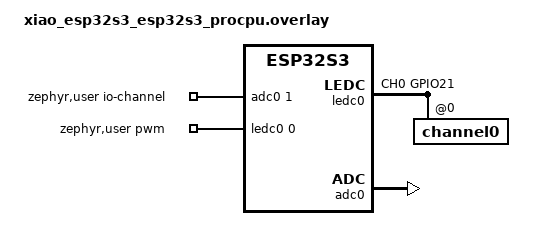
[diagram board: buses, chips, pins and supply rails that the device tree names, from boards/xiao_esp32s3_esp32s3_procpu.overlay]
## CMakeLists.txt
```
# SPDX-License-Identifier: Apache-2.0
cmake_minimum_required(VERSION 3.20.0)
find_package(Zephyr REQUIRED HINTS $ENV{ZEPHYR_BASE})
project(tessera_periphbench)

target_sources(app PRIVATE src/main.c)
```

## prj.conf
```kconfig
# SPDX-License-Identifier: Apache-2.0
# periphbench（板级九）：PWM/ADC 真后端真机验证。直启面（无 core_boot：
# 后端 init / 描述符注册 / set_link 由 bench 显式编排 = 生产 init 同链）。
CONFIG_PRINTK=y
CONFIG_TS_CORE=y
CONFIG_TS_SAFETY=y
CONFIG_TS_NET=n
CONFIG_MAIN_THREAD_PRIORITY=15
```

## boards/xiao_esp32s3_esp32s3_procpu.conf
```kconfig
# 板级九：PWM/ADC 真后端使能（LED 使能节点随 overlay 点亮 → PWM_LED_ESP32/
# ADC_ESP32 默认 y）；板级内存片段（DEC-23/27 过渡值）。
CONFIG_PWM=y
CONFIG_ADC=y
CONFIG_TS_DRV_PWM=y
CONFIG_TS_DRV_ADC=y
CONFIG_TS_STORE_SLOT_SIZE=4096
# 4.5 复验批（同型防御）：verify 链在 4096 main 栈实测挂死（persistbench
# 实证——教训 31⑤ 同型）；8192 定值。
CONFIG_MAIN_STACK_SIZE=8192
```

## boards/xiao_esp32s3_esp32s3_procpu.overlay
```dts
/*
 * 板级九：PWM（LEDC）/ADC DT 绑定（xiao_esp32s3）。
 * - PWM：LEDC_CH0 → GPIO21（板载蓝色 LED，低有效——亮度与 duty 反相，
 *   寄存器判据不受极性影响）；引脚路由经 ledc0 pinctrl（LEDC 绑定要求），
 *   通道 0 / timer 0。zephyr,user：pwm-uid = 逻辑名匹配 + pwms 规格。
 * - ADC：ADC1 通道 1 = GPIO2（D1；板 pinctrl 无占用——twai 占 GPIO3/4、
 *   spim2 占 7/8/9、i2c0 占 5/6，GPIO2 空闲）。zephyr,user：adc-uid +
 *   io-channels（ADC_DT_SPEC_GET 官方文档示例即为 zephyr,user 模式）。
 */
#include <zephyr/dt-bindings/pinctrl/esp32s3-pinctrl.h>

&pinctrl {
	pb_ledc0: pb_ledc0 {
		group1 {
			pinmux = <LEDC_CH0_GPIO21>;
			output-enable;
		};
	};
};

&ledc0 {
	status = "okay";
	pinctrl-0 = <&pb_ledc0>;
	pinctrl-names = "default";
	#address-cells = <1>;
	#size-cells = <0>;
	channel0@0 {
		reg = <0x0>;
		timer = <0>;
	};
};

&adc0 {
	status = "okay";
};

/ {
	zephyr,user {
		pwm-uid = "pb-pwm";
		pwms = <&ledc0 0 1000000 0>;
		adc-uid = "pb-adc";
		io-channels = <&adc0 1>;
	};
};
```

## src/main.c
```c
/* SPDX-License-Identifier: Apache-2.0 */
/*
 * periphbench（板级九）：PWM/ADC 真后端真机验证（docs/board-periph.md）。
 *
 * PWM 输出链（合同 2 唯一写路径全链）：ts_pwm_set（权限裁决 + 打包域校验）
 * → ts_safety_commit（限幅→slew→审计）→ ts_drivers[TS_CH_PWM]（pwm_set →
 * LEDC）→ 硬件判据 = LEDC 寄存器直读：DUTY_R/DUTY_RES 比值 ↔ permille；
 * 0%/100% = 驱动停止态（CONF0.SIG_OUT_EN=0 + IDLE_LV 对应）；断链 fail-safe
 * = linkloss 声明值落驱动（HLD §4.5-S2，本批修复的真机首证）。
 * ADC 输入链（合同 3：输入直读不经保护层）：io_mux 输出使能注入（estopbench
 * 同型豁免——引脚电平真实 0V/3.3V）→ ts_adc_read（eFuse 校准 mV）轨判据。
 */
#include <zephyr/kernel.h>
#include <zephyr/sys/util.h>
#include <ts/core.h>
#include <ts/hal.h>
#include <ts/periph.h>
#include <ts/safety.h>

/* esp32s3 LEDC（TRM §19；偏移自 hal_espressif esp32s3 ledc_reg.h）：
 * LSCH0 寄存器组 + LSTIMER0_CONF（duty_res [3:0]）。 */
#define LEDC_BASE 0x60019000U
#define LEDC_REG(off) (*(volatile uint32_t *)(LEDC_BASE + (off)))
#define LEDC_LSCH0_CONF0 0x00U
#define LEDC_LSCH0_DUTY_R 0x10U
#define LEDC_LSTIMER0_CONF 0xA0U
#define LEDC_SIG_OUT_EN BIT(2)
#define LEDC_IDLE_LV BIT(3)

/* esp32s3 GPIO0-31 bank：ADC 轨注入（estopbench 同型） */
#define GPIO0_BANK 0x60004000U
#define GPIO_REG(off) (*(volatile uint32_t *)(GPIO0_BANK + (off)))
#define ADC_PIN 2 /* D1 = ADC1_CH1 */
#define ADC_MASK BIT(ADC_PIN)

/* PWM 打包域（LLD-ts-hal §3）：高 16 = hz/100、低 16 = permille */
#define PWM_PACK(hz, pm) ((((hz) / 100U) << 16) | (pm))

/* duty 比值容差：驱动 duty_val = 2^res × ratio 截断 + DUTY_R 更新相位，
 * res≥13 时粒度 <0.2‰——3‰ 覆盖舍入与更新滞后 */
#define DUTY_TOL_PM 3U

static bool bench_fail;

static void check(bool ok, const char *tag)
{
	if (!ok) {
		bench_fail = true;
		printk("PP CHECK-FAIL %s\n", tag);
	}
}

/* 描述符（生产同型：经 ts_periph_register 全链注册）。三安全态 = 0%（LED 灭，
 * 安全侧）；限幅 max = 5000Hz|700‰（PP3 clamp 判据，hz 与扫描上限一致——
 * 打包域比较 hz 占高位，clamp 请求须取 max 同 hz 才是纯 duty 判据）。 */
static const ts_periph_desc_t pwm_desc = {
	.uid = "pb-pwm", .kind = TS_PK_PWM,
	.safe = {.uid = "pb-pwm", .kind = TS_CH_PWM,
		 .poweron = {.u = PWM_PACK(1000, 0)},
		 .linkloss = {.u = PWM_PACK(1000, 0)},
		 .fault = {.u = PWM_PACK(1000, 0)},
		 .limits = {.min = PWM_PACK(1000, 0),
			    .max = PWM_PACK(5000, 700),
			    .slew_per_ms = 0}},
};
static const ts_periph_desc_t adc_desc = {
	.uid = "pb-adc", .kind = TS_PK_ADC,
};

/* LEDC 实测 duty（permille 域）：DUTY_R / (2^duty_res × 16)。寄存器字段 =
 * duty ticks << 4（hal ledc_ll_set_duty_int_part：hw->duty = duty_val << 4，
 * 有效位 [18:4]）；res=0 = 未配置哨兵 */
static uint32_t duty_permille_hw(void)
{
	uint32_t res = LEDC_REG(LEDC_LSTIMER0_CONF) & 0xFU;
	uint32_t duty = LEDC_REG(LEDC_LSCH0_DUTY_R) & 0x7FFFFU;

	if (res == 0U) {
		return 0xFFFFFFFFU;
	}
	return duty * 1000U / ((1U << res) * 16U);
}

static bool duty_matches(uint32_t want_pm)
{
	uint32_t hw = duty_permille_hw();

	return hw != 0xFFFFFFFFU && hw + DUTY_TOL_PM >= want_pm &&
	       hw <= want_pm + DUTY_TOL_PM;
}

/* duty 更新相位落定（低数通道下一周期装载，1kHz = 1ms） */
static void ledc_settle(void)
{
	k_msleep(6);
}

static void adc_drive_low(void)
{
	GPIO_REG(0x24) = ADC_MASK; /* ENABLE_W1TS */
	GPIO_REG(0x0C) = ADC_MASK; /* OUT_W1TC：0V */
	k_msleep(5);
}

static void adc_drive_high(void)
{
	GPIO_REG(0x24) = ADC_MASK; /* ENABLE_W1TS */
	GPIO_REG(0x08) = ADC_MASK; /* OUT_W1TS：3.3V */
	k_msleep(5);
}

static void adc_release(void)
{
	GPIO_REG(0x28) = ADC_MASK; /* ENABLE_W1TC：回悬空 */
}

int main(void)
{
	printk("PP0 periphbench\n");

	/* PP1: 真后端 init + 描述符全链注册（ts-periph→ts-safety→ts-hal） */
	if (ts_drv_pwm_init() != 0) {
		printk("PP FAIL pwm_init\n");
		return 1;
	}
	if (ts_adc_drv_init() != 0) {
		printk("PP FAIL adc_init\n");
		return 1;
	}
	if (ts_periph_register(&pwm_desc) != TS_OK ||
	    ts_periph_register(&adc_desc) != TS_OK) {
		printk("PP FAIL register\n");
		return 1;
	}
	printk("PP1 backends+descriptors ok\n");

	/* 权限上下文：pwm=set 实例 0（首注册）；adc=read 实例 1（次注册） */
	ts_perm_table_t table;
	ts_ctx_t ctx;

	ts_perm_table_init(&table);
	if (ts_perm_parse("pwm:set:0", &table) != TS_OK ||
	    ts_perm_parse("adc:read:1", &table) != TS_OK ||
	    ts_hal_bind_context(&ctx, 1, &table) != TS_OK) {
		printk("PP FAIL perm bind\n");
		return 1;
	}

	/* 上电态 = 0% → 驱动停止态（SIG_OUT_EN=0；timer 未配置，无比值判据） */
	check((LEDC_REG(LEDC_LSCH0_CONF0) & LEDC_SIG_OUT_EN) == 0,
	      "poweron-stop");

	/* PP2: duty 扫描（ACTIVE 态经全保护链；含跨 hz 重配 1000→5000） */
	ts_safety_set_link(true);
	static const struct {
		uint32_t hz, pm;
	} sweep[] = {
		{1000, 100}, {1000, 250}, {1000, 500},
		{1000, 700}, {5000, 500}, {1000, 400},
	};

	for (size_t i = 0; i < ARRAY_SIZE(sweep); i++) {
		ts_res_t r = ts_pwm_set(ctx, 0, sweep[i].hz, sweep[i].pm);

		ledc_settle();
		uint32_t hw = duty_permille_hw();

		check(r == TS_OK, "sweep-commit");
		check(duty_matches(sweep[i].pm), "sweep-duty");
		check((LEDC_REG(LEDC_LSCH0_CONF0) & LEDC_SIG_OUT_EN) != 0,
		      "sweep-run");
		printk("PP2 hz=%u pm=%u hw_pm=%u duty_res=%u r=%d\n",
		       sweep[i].hz, sweep[i].pm, hw,
		       LEDC_REG(LEDC_LSTIMER0_CONF) & 0xFU, (int)r);
	}

	/* PP3: 保护层限幅落硬件——900‰ 请求 → 700‰ 落 LEDC + TS_E_RANGE */
	ts_res_t r = ts_pwm_set(ctx, 0, 5000, 900);

	ledc_settle();
	check(r == TS_E_RANGE, "clamp-range");
	check(duty_matches(700), "clamp-duty");
	printk("PP3 clamp 900->700 hw_pm=%u r=%d\n", duty_permille_hw(), (int)r);

	/* PP4: 端点 0%/100% = 驱动停止态语义（SIG_OUT_EN=0 + IDLE_LV 对应） */
	r = ts_pwm_set(ctx, 0, 1000, 1000);
	ledc_settle();
	check(r == TS_OK, "endpoint-1000");
	check((LEDC_REG(LEDC_LSCH0_CONF0) & LEDC_SIG_OUT_EN) == 0,
	      "endpoint-1000-stop");
	check((LEDC_REG(LEDC_LSCH0_CONF0) & LEDC_IDLE_LV) != 0,
	      "endpoint-1000-idle-high");
	r = ts_pwm_set(ctx, 0, 1000, 0);
	ledc_settle();
	check(r == TS_OK, "endpoint-0");
	check((LEDC_REG(LEDC_LSCH0_CONF0) & LEDC_SIG_OUT_EN) == 0,
	      "endpoint-0-stop");
	check((LEDC_REG(LEDC_LSCH0_CONF0) & LEDC_IDLE_LV) == 0,
	      "endpoint-0-idle-low");
	printk("PP4 endpoints ok r=%d\n", (int)r);

	/* PP5: 断链 fail-safe——linkloss 声明值（0%）落驱动（HLD §4.5-S2），
	 * 恢复后显式重设可写回（DR-04：不自动回写） */
	ts_pwm_set(ctx, 0, 1000, 600); /* 断链前值 600‰ */
	ledc_settle();
	check(duty_matches(600), "pre-linkloss-600");
	ts_safety_set_link(false);
	ledc_settle();
	check((LEDC_REG(LEDC_LSCH0_CONF0) & LEDC_SIG_OUT_EN) == 0,
	      "linkloss-stop");
	r = ts_pwm_set(ctx, 0, 1000, 500);
	check(r == TS_E_STATE, "linkloss-write-reject");
	ts_safety_set_link(true);
	r = ts_pwm_set(ctx, 0, 1000, 400);
	ledc_settle();
	check(r == TS_OK && duty_matches(400), "recover-writeback");
	printk("PP5 linkloss fail-safe + recover ok (r=%d hw_pm=%u)\n",
	       (int)r, duty_permille_hw());

	/* PP6/7: ADC 轨到轨（真实电平注入 → eFuse 校准 mV 判据；
	 * 12dB 衰减满量程 < 3.3V——高轨 = 饱和读数，mv 判下界即可） */
	int32_t mv = -1;

	adc_drive_low();
	r = ts_adc_read(ctx, 1, &mv);
	check(r == TS_OK && mv < 150, "adc-low-rail");
	printk("PP6 adc low rail mv=%d r=%d\n", mv, (int)r);

	adc_drive_high();
	r = ts_adc_read(ctx, 1, &mv);
	check(r == TS_OK && mv > 2000, "adc-high-rail");
	printk("PP7 adc high rail mv=%d r=%d\n", mv, (int)r);

	adc_release();
	/* 悬空参考读（无判据，观测记录） */
	r = ts_adc_read(ctx, 1, &mv);
	printk("PP8 adc floating mv=%d r=%d（观测）\n", mv, (int)r);

	/* PWM 写失败计数 = 0（后端全链零静默失败） */
	check(ts_drv_pwm_err_count() == 0, "pwm-err-count");

	if (bench_fail) {
		printk("PP FAIL\n");
		return 1;
	}
	printk("PP PASS\n");
	return 0;
}
```
